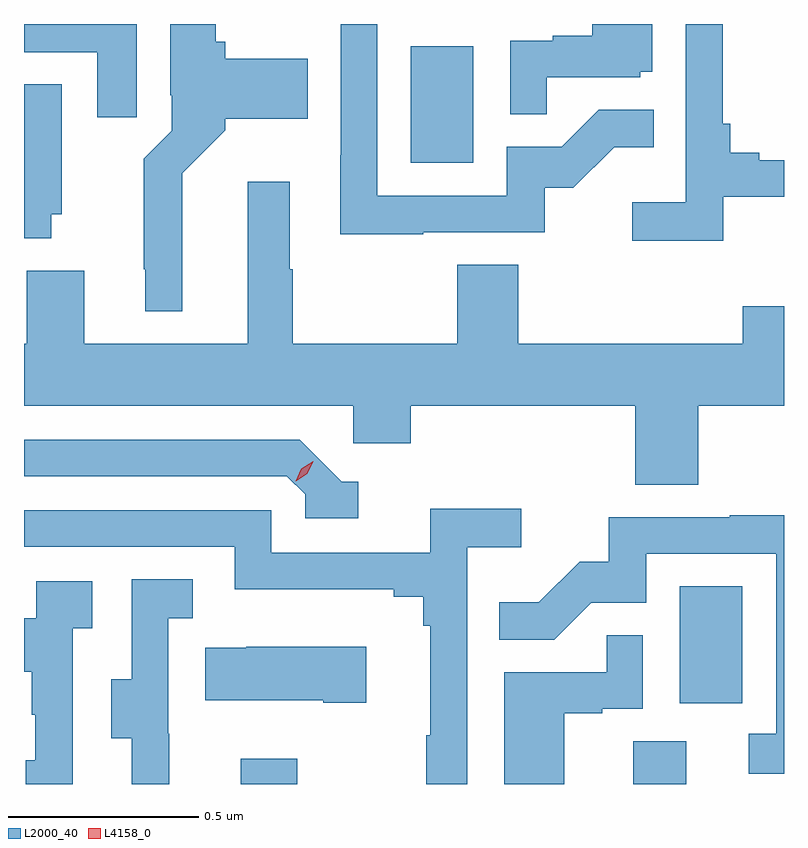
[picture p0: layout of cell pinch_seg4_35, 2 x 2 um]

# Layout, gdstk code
import gdstk
lib = gdstk.Library(unit=1e-6, precision=1e-09)
def R(c, l, rs):  # rectangles x0, y0, x1, y1
    for r in rs: c.add(gdstk.rectangle(r[:2], r[2:], *l))
def P(c, l, *ps):  # polygons
    for p in ps: c.add(gdstk.Polygon(p, *l))
L2000_40 = (2000, 40)
L4158_0 = (4158, 0)

pinch_seg4_35 = lib.new_cell('pinch_seg4_35')
R(pinch_seg4_35, L2000_40, [(1129.019,827.793,1129.167,827.86), (1130.051,827.793,1130.191,827.906), (1130.174,828.006,1130.338,828.313), (1129.466,829.428,1129.63,829.735)])
P(pinch_seg4_35, L2000_40, [(1128.745,829.793),(1128.448,829.793),(1128.448,829.719),(1128.641,829.719),(1128.641,829.548),(1128.745,829.548)],
  [(1130.288,829.338),(1130.448,829.338),(1130.448,829.435),(1130.383,829.435),(1130.383,829.454),(1130.306,829.454),(1130.306,829.531),(1130.287,829.531),(1130.287,829.793),(1130.19,829.793),(1130.19,829.324),(1130.049,829.324),(1130.049,829.222),(1130.288,829.222)],
  [(1128.865,829.4),(1128.978,829.513),(1128.978,829.544),(1129.195,829.544),(1129.195,829.702),(1128.978,829.702),(1128.978,829.746),(1128.952,829.746),(1128.952,829.793),(1128.833,829.793),(1128.833,829.606),(1128.837,829.606),(1128.837,829.512),(1128.763,829.438),(1128.763,829.147),(1128.767,829.147),(1128.767,829.037),(1128.865,829.037)],
  [(1129.499,829.245),(1129.818,829.245),(1129.818,829.362),(1129.894,829.362),(1130.001,829.469),(1130.105,829.469),(1130.105,829.568),(1129.961,829.568),(1129.863,829.47),(1129.719,829.47),(1129.719,829.341),(1129.377,829.341),(1129.377,829.793),(1129.281,829.793),(1129.281,829.448),(1129.28,829.448),(1129.28,829.24),(1129.499,829.24)],
  [(1129.823,829.653),(1130.07,829.653),(1130.07,829.668),(1130.101,829.668),(1130.101,829.793),(1129.943,829.793),(1129.943,829.762),(1129.839,829.762),(1129.839,829.749),(1129.728,829.749),(1129.728,829.555),(1129.823,829.555)],
  [(1128.52,829.293),(1128.547,829.293),(1128.547,829.634),(1128.448,829.634),(1128.448,829.229),(1128.52,829.229)],
  [(1130.222,828.788),(1130.448,828.788),(1130.448,829.05),(1130.339,829.05),(1130.339,828.952),(1129.748,828.952),(1129.748,829.16),(1129.588,829.16),(1129.588,828.952),(1129.155,828.952),(1129.155,829.148),(1129.147,829.148),(1129.147,829.378),(1129.037,829.378),(1129.037,828.952),(1128.607,828.952),(1128.607,829.144),(1128.455,829.144),(1128.455,828.952),(1128.448,828.952),(1128.448,828.788),(1129.314,828.788),(1129.314,828.69),(1129.466,828.69),(1129.466,828.788),(1130.057,828.788),(1130.057,828.58),(1130.222,828.58)],
  [(1129.327,828.588),(1129.284,828.588),(1129.173,828.699),(1128.448,828.699),(1128.448,828.603),(1129.14,828.603),(1129.188,828.555),(1129.188,828.492),(1129.327,828.492)],
  [(1129.614,828.416),(1129.756,828.416),(1129.756,828.518),(1129.517,828.518),(1129.517,828.402),(1129.098,828.402),(1129.098,828.513),(1128.448,828.513),(1128.448,828.417),(1129.002,828.417),(1129.002,828.305),(1129.421,828.305),(1129.421,828.286),(1129.498,828.286),(1129.498,828.209),(1129.517,828.209),(1129.517,827.921),(1129.506,827.921),(1129.506,827.793),(1129.614,827.793)],
  [(1130.448,828.5),(1130.305,828.5),(1130.305,828.495),(1129.987,828.495),(1129.987,828.378),(1129.91,828.378),(1129.803,828.271),(1129.699,828.271),(1129.699,828.172),(1129.843,828.172),(1129.941,828.27),(1130.085,828.27),(1130.085,828.399),(1130.427,828.399),(1130.427,827.925),(1130.355,827.925),(1130.355,827.82),(1130.448,827.82)],
  [(1128.83,827.925),(1128.828,827.925),(1128.828,828.229),(1128.892,828.229),(1128.892,828.332),(1128.732,828.332),(1128.732,828.069),(1128.677,828.069),(1128.677,827.914),(1128.731,827.914),(1128.731,827.793),(1128.83,827.793)],
  [(1128.576,828.203),(1128.628,828.203),(1128.628,828.327),(1128.48,828.327),(1128.48,828.229),(1128.448,828.229),(1128.448,828.089),(1128.468,828.089),(1128.468,827.975),(1128.478,827.975),(1128.478,827.856),(1128.452,827.856),(1128.452,827.793),(1128.576,827.793)],
  [(1129.87,827.979),(1129.97,827.979),(1129.97,827.991),(1130.076,827.991),(1130.076,828.185),(1129.981,828.185),(1129.981,828.087),(1129.712,828.087),(1129.712,827.793),(1129.87,827.793)],
  [(1129.348,828.154),(1129.033,828.154),(1129.033,828.151),(1128.925,828.151),(1128.925,828.014),(1129.235,828.014),(1129.235,828.007),(1129.348,828.007)])
P(pinch_seg4_35, L4158_0, [(1129.163,828.59),(1129.163,828.59),(1129.178,828.623),(1129.209,828.643),(1129.209,828.643),(1129.209,828.643),(1129.193,828.61),(1129.163,828.59)])

lib.write_gds('pinch_seg4_35.gds')
